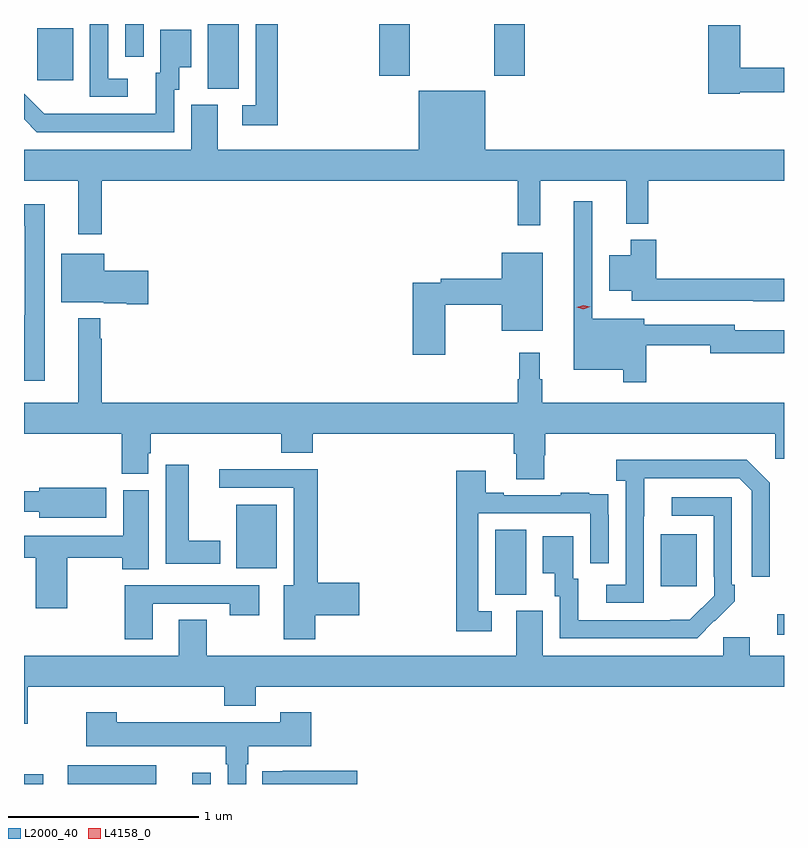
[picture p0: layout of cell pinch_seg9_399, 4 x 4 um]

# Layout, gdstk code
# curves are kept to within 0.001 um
import gdstk
lib = gdstk.Library(unit=1e-6, precision=1e-09)
def R(c, l, rs):  # rectangles x0, y0, x1, y1
    for r in rs: c.add(gdstk.rectangle(r[:2], r[2:], *l))
def P(c, l, *ps):  # polygons
    for p in ps: c.add(gdstk.Polygon(p, *l))
L2000_40 = (2000, 40)
L4158_0 = (4158, 0)

pinch_seg9_399 = lib.new_cell('pinch_seg9_399')
R(pinch_seg9_399, L2000_40, [(232.771,1218.553,232.873,1218.604), (233.001,1218.553,233.467,1218.652), (233.657,1218.553,233.754,1218.613), (236.736,1219.338,236.771,1219.447), (235.25,1219.549,235.414,1219.892), (236.123,1219.593,236.311,1219.867), (233.888,1219.688,234.1,1220.023), (233.738,1222.213,233.902,1222.553), (232.841,1222.257,233.029,1222.531), (234.641,1222.281,234.801,1222.553), (235.246,1222.281,235.406,1222.553), (233.304,1222.38,233.4,1222.553)])
P(pinch_seg9_399, L2000_40, [(234.107,1222.553),(233.991,1222.553),(233.991,1222.125),(233.919,1222.125),(233.919,1222.02),(234.107,1222.02)],
  [(233.317,1222.266),(233.214,1222.266),(233.214,1222.553),(233.118,1222.553),(233.118,1222.17),(233.317,1222.17)],
  [(236.538,1222.194),(236.771,1222.194),(236.771,1222.322),(236.542,1222.322),(236.542,1222.546),(236.372,1222.546),(236.372,1222.186),(236.538,1222.186)],
  [(233.562,1222.206),(233.587,1222.206),(233.587,1222.325),(233.65,1222.325),(233.65,1222.522),(233.489,1222.522),(233.489,1222.296),(233.465,1222.296),(233.465,1222.08),(232.878,1222.081),(232.771,1222.187),(232.771,1222.051),(232.838,1221.984),(233.562,1221.984)],
  [(233.179,1221.728),(235.369,1221.728),(235.369,1221.495),(235.487,1221.495),(235.487,1221.728),(235.94,1221.728),(235.94,1221.503),(236.057,1221.503),(236.057,1221.728),(236.771,1221.728),(236.771,1221.892),(235.198,1221.892),(235.198,1222.201),(234.848,1222.201),(234.848,1221.892),(233.791,1221.892),(233.791,1222.128),(233.651,1222.128),(233.651,1221.892),(232.771,1221.892),(232.771,1221.728),(233.057,1221.728),(233.057,1221.447),(233.179,1221.447)],
  [(236.047,1220.862),(236.384,1220.862),(236.384,1220.819),(236.771,1220.819),(236.771,1220.941),(236.512,1220.941),(236.512,1220.97),(236.035,1220.97),(236.035,1221.001),(235.761,1221.001),(235.761,1221.619),(235.664,1221.619),(235.664,1220.732),(235.926,1220.732),(235.926,1220.667),(236.047,1220.667)],
  [(232.879,1221.604),(232.771,1221.604),(232.771,1221.491),(232.775,1221.491),(232.775,1221.019),(232.771,1221.019),(232.771,1220.675),(232.879,1220.675)],
  [(236.771,1221.212),(236.099,1221.212),(236.099,1221.418),(235.964,1221.418),(235.964,1221.337),(235.85,1221.337),(235.85,1221.149),(235.97,1221.149),(235.97,1221.096),(236.608,1221.096),(236.608,1221.095),(236.771,1221.095)],
  [(234.988,1221.076),(235.286,1221.076),(235.286,1220.939),(235.501,1220.939),(235.501,1221.349),(235.286,1221.349),(235.286,1221.212),(234.964,1221.212),(234.964,1221.192),(234.818,1221.192),(234.818,1220.811),(234.988,1220.811)],
  [(233.425,1221.255),(233.194,1221.255),(233.194,1221.343),(232.967,1221.343),(232.967,1221.089),(233.19,1221.089),(233.19,1221.083),(233.312,1221.083),(233.312,1221.077),(233.425,1221.077)],
  [(235.509,1220.283),(235.514,1220.283),(235.514,1220.396),(236.724,1220.396),(236.724,1220.265),(236.771,1220.265),(236.771,1220.56),(235.498,1220.56),(235.498,1220.684),(235.486,1220.684),(235.486,1220.824),(235.377,1220.824),(235.377,1220.684),(235.369,1220.684),(235.369,1220.56),(233.179,1220.56),(233.179,1220.897),(233.171,1220.897),(233.171,1221.004),(233.057,1221.004),(233.057,1220.56),(232.771,1220.56),(232.771,1220.396),(233.285,1220.396),(233.285,1220.185),(233.425,1220.185),(233.425,1220.295),(233.438,1220.295),(233.438,1220.396),(234.125,1220.396),(234.125,1220.297),(234.29,1220.297),(234.29,1220.396),(235.349,1220.396),(235.349,1220.29),(235.361,1220.29),(235.361,1220.158),(235.509,1220.158)],
  [(236.034,1219.963),(236.035,1220.163),(236.535,1220.163),(236.601,1220.097),(236.601,1219.644),(236.697,1219.644),(236.697,1220.139),(236.576,1220.26),(235.887,1220.26),(235.887,1220.15),(235.938,1220.15),(235.938,1219.602),(235.836,1219.602),(235.836,1219.506),(236.034,1219.506)],
  [(233.803,1219.834),(233.638,1219.834),(233.638,1220.233),(233.516,1220.233),(233.516,1219.712),(233.803,1219.712)],
  [(234.304,1219.442),(234.535,1219.442),(234.535,1219.613),(234.317,1219.613),(234.317,1220.21),(233.799,1220.21),(233.799,1220.112),(234.191,1220.112),(234.191,1219.6),(234.137,1219.6),(234.137,1219.314),(234.304,1219.314)],
  [(235.234,1219.461),(235.161,1219.461),(235.161,1219.977),(235.752,1219.977),(235.752,1219.716),(235.848,1219.716),(235.848,1219.97),(235.847,1219.97),(235.847,1220.079),(235.745,1220.079),(235.745,1220.086),(235.597,1220.086),(235.597,1220.073),(235.297,1220.073),(235.297,1220.086),(235.201,1220.086),(235.201,1220.203),(235.045,1220.203),(235.045,1219.356),(235.234,1219.356)],
  [(233.203,1220.113),(232.85,1220.113),(232.85,1220.095),(232.771,1220.095),(232.771,1219.986),(232.85,1219.986),(232.85,1219.955),(233.203,1219.955)],
  [(232.998,1219.744),(233.287,1219.744),(233.287,1219.684),(233.428,1219.684),(233.428,1220.1),(233.294,1220.1),(233.294,1219.86),(232.771,1219.86),(232.771,1219.744),(232.832,1219.744),(232.832,1219.479),(232.998,1219.479)],
  [(236.405,1219.411),(236.406,1219.41),(236.511,1219.515),(236.511,1219.603),(236.496,1219.603),(236.496,1220.061),(236.181,1220.061),(236.181,1219.965),(236.4,1219.965),(236.4,1219.645),(236.403,1219.645),(236.403,1219.545),(236.275,1219.417),(235.687,1219.416),(235.687,1219.632),(235.663,1219.632),(235.663,1219.858),(235.502,1219.858),(235.502,1219.661),(235.565,1219.661),(235.565,1219.542),(235.59,1219.542),(235.59,1219.32),(236.314,1219.32)],
  [(233.449,1219.503),(233.854,1219.503),(233.854,1219.44),(234.01,1219.44),(234.01,1219.599),(233.302,1219.599),(233.302,1219.314),(233.449,1219.314)],
  [(232.791,1219.064),(233.825,1219.064),(233.825,1218.965),(233.99,1218.965),(233.99,1219.064),(236.771,1219.064),(236.771,1219.228),(236.59,1219.228),(236.59,1219.326),(236.451,1219.326),(236.451,1219.228),(235.501,1219.228),(235.501,1219.464),(235.361,1219.464),(235.361,1219.228),(233.733,1219.228),(233.733,1219.418),(233.585,1219.418),(233.585,1219.228),(232.771,1219.228),(232.771,1218.87),(232.791,1218.87)],
  [(233.94,1218.656),(233.952,1218.656),(233.952,1218.752),(234.284,1218.752),(234.284,1218.931),(234.119,1218.931),(234.119,1218.877),(233.258,1218.877),(233.258,1218.931),(233.098,1218.931),(233.098,1218.752),(233.832,1218.752),(233.832,1218.656),(233.844,1218.656),(233.844,1218.553),(233.94,1218.553)],
  [(234.526,1218.622),(234.133,1218.622),(234.133,1218.621),(234.025,1218.621),(234.025,1218.553),(234.526,1218.553)])
P(pinch_seg9_399, L4158_0, [(235.715,1221.053),(235.68,1221.062),(235.679,1221.062),(235.68,1221.062),(235.715,1221.073),(235.75,1221.065),(235.751,1221.064),(235.75,1221.064)])

lib.write_gds('pinch_seg9_399.gds')
